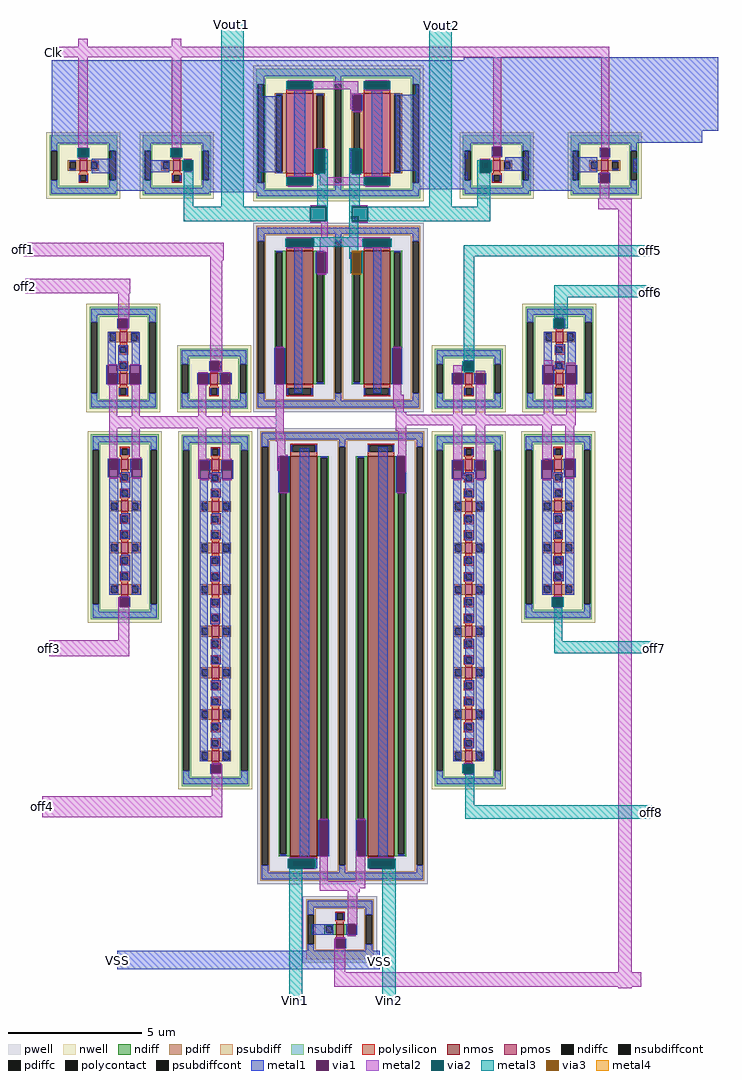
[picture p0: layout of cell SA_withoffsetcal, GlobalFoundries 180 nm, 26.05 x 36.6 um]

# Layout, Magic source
magic
tech gf180mcuD
magscale 1 10
<< nwell >>
rect 4580 340 4680 390
rect 4860 380 4910 400
rect 4850 190 4910 380
rect 4620 -380 4680 -110
<< pwell >>
rect 4840 -840 4910 -610
rect 4290 -2300 4350 -2030
<< metal1 >>
rect 2610 440 4210 560
rect 2610 290 4190 440
rect 4370 340 4380 400
rect 4560 340 4570 400
rect 4950 340 4960 400
rect 5140 340 5150 400
rect 2610 -50 4330 290
rect 3060 -60 3310 -50
rect 2800 -170 2810 -100
rect 2880 -170 2890 -100
rect 3060 -180 3350 -60
rect 3500 -170 3510 -100
rect 3580 -170 3590 -100
rect 2910 -190 3350 -180
rect 2910 -280 3490 -190
rect 3590 -270 3600 -190
rect 3660 -270 3670 -190
rect 3750 -280 4330 -50
rect 2910 -290 3350 -280
rect 3060 -420 3350 -290
rect 3750 -430 4180 -280
rect 4430 -320 4510 340
rect 4860 180 4870 300
rect 4930 180 4940 300
rect 4580 -280 4590 -110
rect 4650 -280 4660 -110
rect 4850 -290 4860 -110
rect 4930 -290 4940 -110
rect 5010 -320 5090 340
rect 5340 300 5730 520
rect 5190 -180 5730 300
rect 5910 -160 5920 -90
rect 5980 -160 5990 -90
rect 6160 -170 6550 510
rect 6720 -170 6730 -100
rect 6790 -170 6800 -100
rect 5190 -270 5710 -180
rect 5340 -280 5710 -270
rect 5820 -280 5830 -190
rect 5900 -280 5910 -190
rect 6010 -270 6700 -170
rect 6160 -280 6700 -270
rect 6970 -280 7000 -180
rect 4370 -380 4380 -320
rect 4560 -380 4570 -320
rect 4950 -380 4960 -320
rect 5140 -380 5150 -320
rect 5340 -410 5730 -280
rect 6160 -420 6550 -280
rect 6710 -360 6720 -290
rect 6790 -360 6800 -290
rect 4360 -840 4370 -780
rect 4570 -840 4580 -780
rect 4940 -840 4950 -780
rect 5150 -840 5160 -780
rect 3100 -1450 3110 -1380
rect 3180 -1450 3190 -1380
rect 3030 -1730 3090 -1480
rect 3110 -1730 3180 -1580
rect 3210 -1730 3270 -1480
rect 3020 -1870 3030 -1730
rect 3100 -1770 3180 -1730
rect 3100 -1870 3110 -1770
rect 3190 -1870 3200 -1730
rect 3270 -1870 3280 -1730
rect 3790 -1770 3800 -1700
rect 3870 -1770 3880 -1700
rect 3700 -1870 3710 -1790
rect 3780 -1870 3790 -1790
rect 3870 -1870 3880 -1790
rect 3950 -1870 3960 -1790
rect 4280 -1870 4290 -1600
rect 4350 -1870 4360 -1600
rect 4430 -1940 4490 -840
rect 4590 -1040 4600 -880
rect 4670 -1040 4680 -880
rect 4850 -1040 4860 -880
rect 4930 -1040 4940 -880
rect 5020 -1940 5080 -840
rect 6370 -1450 6380 -1380
rect 6450 -1450 6460 -1380
rect 5160 -1870 5170 -1600
rect 5230 -1870 5240 -1600
rect 5690 -1770 5700 -1700
rect 5770 -1770 5780 -1700
rect 6300 -1730 6360 -1480
rect 6390 -1730 6460 -1570
rect 6480 -1730 6540 -1480
rect 5610 -1870 5620 -1790
rect 5690 -1870 5700 -1790
rect 5780 -1870 5790 -1790
rect 5860 -1870 5870 -1790
rect 6290 -1870 6300 -1730
rect 6370 -1870 6380 -1730
rect 6390 -1760 6470 -1730
rect 6460 -1870 6470 -1760
rect 6540 -1870 6550 -1730
rect 3030 -2570 3040 -2430
rect 3110 -2570 3120 -2430
rect 3200 -2530 3210 -2430
rect 3130 -2570 3210 -2530
rect 3280 -2570 3290 -2430
rect 3040 -3450 3110 -2570
rect 3130 -2720 3200 -2570
rect 3130 -3030 3200 -2840
rect 3130 -3340 3200 -3150
rect 3210 -3450 3280 -2570
rect 3710 -2580 3720 -2440
rect 3790 -2580 3800 -2440
rect 3880 -2530 3890 -2440
rect 3810 -2580 3890 -2530
rect 3960 -2580 3970 -2440
rect 3110 -3540 3120 -3470
rect 3190 -3540 3200 -3470
rect 3720 -4700 3780 -2580
rect 3810 -2720 3880 -2580
rect 3810 -3030 3880 -2840
rect 3800 -3350 3870 -3160
rect 3800 -3670 3870 -3480
rect 3810 -3970 3880 -3780
rect 3810 -4280 3880 -4090
rect 3810 -4600 3880 -4410
rect 3890 -4700 3950 -2580
rect 4310 -2680 4320 -2410
rect 4380 -2680 4390 -2410
rect 3800 -4790 3810 -4720
rect 3880 -4790 3890 -4720
rect 4470 -5430 4540 -2350
rect 4610 -5410 4620 -5140
rect 4680 -5410 4690 -5140
rect 4890 -5410 4900 -5140
rect 4960 -5410 4970 -5140
rect 5060 -5430 5130 -2340
rect 5190 -2680 5200 -2410
rect 5260 -2680 5270 -2410
rect 6290 -2440 6360 -2430
rect 5610 -2580 5620 -2440
rect 5690 -2580 5700 -2440
rect 5780 -2530 5790 -2440
rect 5710 -2580 5790 -2530
rect 5860 -2580 5870 -2440
rect 6280 -2580 6290 -2440
rect 6360 -2530 6370 -2440
rect 6360 -2580 6440 -2530
rect 6450 -2570 6460 -2430
rect 6530 -2570 6540 -2430
rect 5620 -4700 5680 -2580
rect 5710 -2720 5780 -2580
rect 5710 -3040 5780 -2850
rect 5710 -3350 5780 -3160
rect 5710 -3660 5780 -3470
rect 5710 -3970 5780 -3780
rect 5710 -4280 5780 -4090
rect 5710 -4600 5780 -4410
rect 5790 -4700 5850 -2580
rect 6290 -3450 6360 -2580
rect 6370 -2720 6440 -2580
rect 6370 -3030 6440 -2840
rect 6380 -3350 6450 -3160
rect 6460 -3450 6530 -2570
rect 6360 -3540 6370 -3470
rect 6440 -3540 6450 -3470
rect 5690 -4790 5700 -4720
rect 5770 -4790 5780 -4720
rect 4390 -5500 4400 -5430
rect 4590 -5500 4600 -5430
rect 4980 -5500 4990 -5430
rect 5180 -5500 5190 -5430
rect 4560 -6000 4720 -5920
rect 4820 -6000 4830 -5920
rect 4890 -6000 4900 -5920
rect 4730 -6100 4740 -6030
rect 4810 -6100 4820 -6030
rect 3100 -6260 4460 -6120
<< via1 >>
rect 4380 340 4560 400
rect 4960 340 5140 400
rect 2810 -170 2880 -100
rect 3510 -170 3580 -100
rect 3600 -270 3660 -190
rect 4870 180 4930 300
rect 4590 -280 4650 -110
rect 4860 -290 4930 -110
rect 5920 -160 5980 -90
rect 6730 -170 6790 -100
rect 5830 -280 5900 -190
rect 4380 -380 4560 -320
rect 4960 -380 5140 -320
rect 6720 -360 6790 -290
rect 4370 -840 4570 -780
rect 4950 -840 5150 -780
rect 3110 -1450 3180 -1380
rect 3030 -1870 3100 -1730
rect 3200 -1870 3270 -1730
rect 3800 -1770 3870 -1700
rect 3710 -1870 3780 -1790
rect 3880 -1870 3950 -1790
rect 4290 -1870 4350 -1600
rect 4600 -1040 4670 -880
rect 4860 -1040 4930 -880
rect 6380 -1450 6450 -1380
rect 5170 -1870 5230 -1600
rect 5700 -1770 5770 -1700
rect 5620 -1870 5690 -1790
rect 5790 -1870 5860 -1790
rect 6300 -1870 6370 -1730
rect 6470 -1870 6540 -1730
rect 3040 -2570 3110 -2430
rect 3210 -2570 3280 -2430
rect 3720 -2580 3790 -2440
rect 3890 -2580 3960 -2440
rect 3120 -3540 3190 -3470
rect 4320 -2680 4380 -2410
rect 3810 -4790 3880 -4720
rect 4620 -5410 4680 -5140
rect 4900 -5410 4960 -5140
rect 5200 -2680 5260 -2410
rect 5620 -2580 5690 -2440
rect 5790 -2580 5860 -2440
rect 6290 -2580 6360 -2440
rect 6460 -2570 6530 -2430
rect 6370 -3540 6440 -3470
rect 5700 -4790 5770 -4720
rect 4400 -5500 4590 -5430
rect 4990 -5500 5180 -5430
rect 4830 -6000 4890 -5920
rect 4740 -6100 4810 -6030
<< metal2 >>
rect 2810 660 2880 720
rect 3510 660 3580 720
rect 2620 580 6790 660
rect 2810 -100 2880 580
rect 2810 -180 2880 -170
rect 3510 -100 3580 580
rect 4380 400 4560 410
rect 4960 400 5140 410
rect 4560 340 4910 400
rect 4380 330 4560 340
rect 4850 310 4910 340
rect 4960 330 5140 340
rect 4850 300 4930 310
rect 4850 190 4870 300
rect 4870 170 4930 180
rect 5920 -90 5980 580
rect 3510 -180 3580 -170
rect 4590 -110 4660 -100
rect 4860 -110 4930 -100
rect 3600 -190 3660 -180
rect 3600 -280 3660 -270
rect 4660 -290 4680 -110
rect 4590 -300 4680 -290
rect 5920 -170 5980 -160
rect 6730 -100 6790 580
rect 6730 -180 6790 -170
rect 5820 -190 5900 -180
rect 5820 -290 5900 -280
rect 6720 -290 6790 -280
rect 4860 -300 4930 -290
rect 4380 -320 4560 -310
rect 4620 -320 4680 -300
rect 4960 -320 5140 -310
rect 4620 -380 4960 -320
rect 4380 -390 4560 -380
rect 4960 -390 5140 -380
rect 6720 -480 6790 -360
rect 4550 -540 4670 -530
rect 4860 -540 4980 -530
rect 4670 -650 4680 -580
rect 4550 -660 4680 -650
rect 6710 -560 6960 -480
rect 4860 -660 4980 -650
rect 4630 -770 4680 -660
rect 4370 -780 4570 -770
rect 2400 -910 3900 -810
rect 4370 -850 4570 -840
rect 4620 -780 5150 -770
rect 4620 -840 4950 -780
rect 4620 -870 4680 -840
rect 4950 -850 5150 -840
rect 3800 -940 3900 -910
rect 4600 -880 4680 -870
rect 2410 -1190 3200 -1080
rect 3110 -1380 3190 -1190
rect 3180 -1450 3190 -1380
rect 3110 -1460 3180 -1450
rect 3800 -1700 3890 -940
rect 4670 -1040 4680 -880
rect 4860 -880 4930 -870
rect 4600 -1050 4670 -1040
rect 4860 -1050 4930 -1040
rect 6380 -1380 6450 -1370
rect 6380 -1460 6450 -1450
rect 3030 -1730 3100 -1720
rect 3030 -1880 3100 -1870
rect 3200 -1730 3270 -1720
rect 3870 -1770 3890 -1700
rect 3800 -1780 3890 -1770
rect 4290 -1600 4350 -1590
rect 3200 -1880 3270 -1870
rect 3040 -2110 3100 -1880
rect 3210 -2110 3270 -1880
rect 3710 -1790 3780 -1780
rect 3710 -1880 3780 -1870
rect 3880 -1790 3950 -1780
rect 3880 -1880 3950 -1870
rect 3710 -2110 3770 -1880
rect 3890 -2110 3950 -1880
rect 4290 -2110 4350 -1870
rect 5170 -1600 5230 -1590
rect 5700 -1700 5770 -1690
rect 5170 -1950 5230 -1870
rect 5620 -1790 5690 -1730
rect 6300 -1730 6370 -1690
rect 5700 -1780 5770 -1770
rect 5170 -2050 5250 -1950
rect 3040 -2200 4350 -2110
rect 3040 -2420 3100 -2200
rect 3210 -2420 3270 -2200
rect 3040 -2430 3110 -2420
rect 3040 -2580 3110 -2570
rect 3210 -2430 3280 -2420
rect 3210 -2580 3280 -2570
rect 3710 -2430 3770 -2200
rect 3890 -2430 3950 -2200
rect 4290 -2250 4350 -2200
rect 5190 -2080 5250 -2050
rect 5190 -2100 5270 -2080
rect 5620 -2100 5690 -1870
rect 5790 -1790 5860 -1770
rect 5790 -2100 5860 -1870
rect 6300 -2100 6370 -1870
rect 6470 -1730 6540 -1710
rect 6470 -2100 6540 -1870
rect 5190 -2180 6540 -2100
rect 5190 -2220 5270 -2180
rect 4290 -2300 4360 -2250
rect 4300 -2400 4360 -2300
rect 5210 -2400 5270 -2220
rect 4300 -2410 4380 -2400
rect 3710 -2440 3790 -2430
rect 3710 -2580 3720 -2440
rect 3720 -2590 3790 -2580
rect 3890 -2440 3960 -2430
rect 4300 -2520 4320 -2410
rect 3890 -2590 3960 -2580
rect 4320 -2690 4380 -2680
rect 5200 -2410 5270 -2400
rect 5260 -2530 5270 -2410
rect 5620 -2440 5690 -2180
rect 5620 -2590 5690 -2580
rect 5790 -2440 5860 -2180
rect 5790 -2590 5860 -2580
rect 6290 -2440 6360 -2180
rect 6460 -2430 6530 -2180
rect 6460 -2580 6530 -2570
rect 6290 -2590 6360 -2580
rect 5200 -2690 5260 -2680
rect 3120 -3470 3190 -3460
rect 3110 -3540 3120 -3470
rect 3110 -3790 3190 -3540
rect 6370 -3470 6440 -3460
rect 6370 -3550 6440 -3540
rect 2590 -3910 3190 -3790
rect 3810 -4720 3880 -4710
rect 5700 -4720 5770 -4710
rect 3880 -4790 3890 -4720
rect 3810 -4960 3890 -4790
rect 5700 -4800 5770 -4790
rect 2540 -5120 3890 -4960
rect 4620 -5140 4680 -5130
rect 4900 -5140 4960 -5130
rect 4390 -5430 4590 -5420
rect 4390 -5510 4590 -5500
rect 4620 -5600 4680 -5410
rect 4890 -5410 4900 -5370
rect 4890 -5600 4960 -5410
rect 4990 -5430 5180 -5420
rect 4990 -5510 5180 -5500
rect 4620 -5650 4960 -5600
rect 4620 -5670 4920 -5650
rect 4830 -5680 4920 -5670
rect 4830 -5920 4900 -5680
rect 4890 -5930 4900 -5920
rect 4830 -6010 4890 -6000
rect 4740 -6030 4810 -6020
rect 4730 -6100 4740 -6030
rect 4730 -6280 4810 -6100
rect 6860 -6280 6960 -560
rect 4730 -6390 7030 -6280
rect 6860 -6400 6960 -6390
<< via2 >>
rect 2810 -170 2880 -100
rect 4380 340 4560 400
rect 4960 340 5140 400
rect 3510 -170 3580 -100
rect 3600 -270 3660 -190
rect 4590 -280 4650 -110
rect 4650 -280 4660 -110
rect 4590 -290 4660 -280
rect 4860 -290 4930 -110
rect 5820 -280 5830 -190
rect 5830 -280 5900 -190
rect 4380 -380 4560 -320
rect 4960 -380 5140 -320
rect 4550 -650 4670 -540
rect 4860 -650 4980 -540
rect 4370 -840 4570 -780
rect 4950 -840 5150 -780
rect 6380 -1450 6450 -1380
rect 5700 -1770 5770 -1700
rect 6370 -3540 6440 -3470
rect 5700 -4790 5770 -4720
rect 4390 -5500 4400 -5430
rect 4400 -5500 4580 -5430
rect 4990 -5500 5180 -5430
<< metal3 >>
rect 2800 -170 2810 -100
rect 2880 -170 2890 -100
rect 3500 -170 3510 -100
rect 3580 -170 3590 -100
rect 3590 -270 3600 -190
rect 3660 -270 3670 -190
rect 3600 -540 3670 -270
rect 3880 -540 4050 830
rect 4370 340 4380 400
rect 4560 340 4570 400
rect 4950 340 4960 400
rect 5140 340 5150 400
rect 4840 -110 4920 -100
rect 4580 -290 4590 -110
rect 4660 -120 4670 -110
rect 4660 -290 4680 -120
rect 4370 -380 4380 -320
rect 4560 -380 4570 -320
rect 4600 -540 4680 -290
rect 3600 -650 4550 -540
rect 4670 -650 4680 -540
rect 4840 -290 4860 -110
rect 4930 -290 4940 -110
rect 4840 -540 4920 -290
rect 4950 -380 4960 -320
rect 5140 -380 5150 -320
rect 5440 -540 5610 820
rect 5800 -280 5820 -190
rect 5900 -280 5910 -190
rect 5800 -540 5900 -280
rect 4840 -650 4860 -540
rect 4980 -650 5900 -540
rect 4840 -770 4910 -650
rect 4560 -780 4910 -770
rect 4360 -840 4370 -780
rect 4570 -840 4910 -780
rect 4940 -840 4950 -780
rect 5150 -840 5160 -780
rect 4840 -880 4910 -840
rect 4840 -930 4860 -880
rect 4850 -1040 4860 -930
rect 4930 -1040 4940 -880
rect 5700 -910 7100 -830
rect 5700 -1700 5780 -910
rect 6380 -1220 7100 -1130
rect 6380 -1380 6480 -1220
rect 6370 -1450 6380 -1380
rect 6450 -1450 6480 -1380
rect 5690 -1770 5700 -1700
rect 5770 -1770 5780 -1700
rect 5700 -1780 5780 -1770
rect 6360 -3540 6370 -3470
rect 6440 -3540 6450 -3470
rect 6380 -3800 6440 -3540
rect 6380 -3890 7130 -3800
rect 5690 -4790 5700 -4720
rect 5770 -4790 5780 -4720
rect 5710 -5030 5780 -4790
rect 5710 -5130 7110 -5030
rect 4380 -5500 4390 -5430
rect 4580 -5500 4590 -5430
rect 4980 -5500 4990 -5430
rect 5180 -5500 5190 -5430
rect 4390 -6490 4490 -5500
rect 5090 -6490 5190 -5500
<< via3 >>
rect 4860 -1040 4930 -880
<< metal4 >>
rect 4860 -880 4930 -870
rect 4860 -1050 4930 -1040
use pfet_03v3_H5R3BY  XM1
transform 1 0 2848 0 1 -230
box -278 -250 278 250
use pfet_03v3_H5R3BY  XM2
transform 1 0 3548 0 1 -230
box -278 -250 278 250
use pfet_03v3_669F58  XM3
transform 1 0 4470 0 1 10
box -350 -510 2560 570
use pfet_03v3_669F58  XM4
transform 1 0 5050 0 1 10
box -350 -510 2560 570
use pfet_03v3_H5R3BY  XM5
transform 1 0 5948 0 1 -230
box -278 -250 278 250
use pfet_03v3_H5R3BY  XM6
transform -1 0 6758 0 1 -230
box -278 -250 278 250
use nfet_03v3_E4SVYL  XM7
transform 1 0 4470 0 1 -1370
box -350 -710 350 710
use nfet_03v3_E4SVYL  XM8
transform 1 0 5050 0 1 -1370
box -350 -710 350 710
use nfet_03v3_2KYBZL  XM9
transform 1 0 4500 0 1 -3910
box -350 -1710 350 1710
use nfet_03v3_2KYBZL  XM10
transform 1 0 5080 0 1 -3910
box -350 -1710 350 1710
use nfet_03v3_Z8672T  XM11
transform -1 0 4772 0 1 -5960
box -298 -300 332 250
use pfet_03v3_H5R3BY  XM12
transform 1 0 5738 0 1 -1830
box -278 -250 278 250
use pfet_03v3_HDLTJN  XM13
transform 1 0 6418 0 1 -1674
box -278 -406 278 406
use pfet_03v3_GU2533  XM14
transform 1 0 6408 0 1 -2942
box -278 -718 278 718
use pfet_03v3_HVKTJN  XM15
transform 1 0 5738 0 1 -3568
box -278 -1342 278 1342
use pfet_03v3_H5R3BY  XM16
transform 1 0 3828 0 1 -1830
box -278 -250 278 250
use pfet_03v3_HDLTJN  XM17
transform 1 0 3148 0 1 -1674
box -278 -406 278 406
use pfet_03v3_GU2533  XM18
transform -1 0 3158 0 1 -2942
box -278 -718 278 718
use pfet_03v3_HVKTJN  XM19
transform 1 0 3838 0 1 -3568
box -278 -1342 278 1342
<< labels >>
rlabel metal2 2620 620 2620 620 7 Clk
port 0 w
rlabel metal3 4440 -6490 4440 -6490 5 Vin1
port 1 s
rlabel metal3 5140 -6490 5140 -6490 5 Vin2
port 2 s
rlabel metal1 2610 530 2610 530 1 VDD
port 3 n
rlabel metal3 3960 830 3960 830 1 Vout1
port 5 n
rlabel metal3 5530 820 5530 820 1 Vout2
port 6 n
rlabel metal3 7100 -870 7100 -870 1 off5
port 7 n
rlabel metal3 7100 -1180 7100 -1180 3 off6
port 8 e
rlabel metal3 7130 -3850 7130 -3850 3 off7
port 9 e
rlabel metal3 7110 -5080 7110 -5080 3 off8
port 10 e
rlabel metal2 2400 -860 2400 -860 7 off1
port 11 w
rlabel metal2 2410 -1140 2410 -1140 7 off2
port 12 w
rlabel metal2 2590 -3850 2590 -3850 7 off3
port 13 w
rlabel metal2 2540 -5040 2540 -5040 7 off4
port 14 w
rlabel space 5070 -6200 5070 -6200 3 VSS
rlabel space 5050 -6240 5100 -6180 1 remove
rlabel metal1 3100 -6190 3100 -6190 1 VSS
port 4 n
<< end >>

# cell pfet_03v3_H5R3BY: kit device pfet_03v3, w 0.4 l 0.28 m 1 nf 1 diffcov 100 polycov 100 guard 1 glc 1 grc 1 gtc 0 gbc 0 tbcov 100 rlcov 100 topc 1 botc 1 poverlap 0 doverlap 1 lmin 0.28 wmin 0.22 class mosfet full_metal 1 compatible {pfet_03v3 pfet_06v0} ad {int((nf+1)/2) * W/nf * 0.18u} as {int((nf+2)/2) * W/nf * 0.18u} pd {2*int((nf+1)/2) * (W/nf + 0.18u)} ps {2*int((nf+2)/2) * (W/nf + 0.18u)} nrd {0.18u / W} nrs {0.18u / W} sa 0 sb 0 sd 0

# cell pfet_03v3_669F58: kit device pfet_03v3, w 3.0 l 1.0 m 1 nf 1 diffcov 100 polycov 100 guard 1 glc 1 grc 1 gtc 0 gbc 0 tbcov 100 rlcov 100 topc 1 botc 1 poverlap 0 doverlap 1 lmin 0.28 wmin 0.22 class mosfet full_metal 1 compatible {pfet_03v3 pfet_06v0} ad {int((nf+1)/2) * W/nf * 0.18u} as {int((nf+2)/2) * W/nf * 0.18u} pd {2*int((nf+1)/2) * (W/nf + 0.18u)} ps {2*int((nf+2)/2) * (W/nf + 0.18u)} nrd {0.18u / W} nrs {0.18u / W} sa 0 sb 0 sd 0

# cell nfet_03v3_E4SVYL: kit device nfet_03v3, w 5.0 l 1.0 m 1 nf 1 diffcov 100 polycov 100 guard 1 glc 1 grc 1 gtc 0 gbc 0 tbcov 100 rlcov 100 topc 1 botc 1 poverlap 0 doverlap 1 lmin 0.28 wmin 0.22 class mosfet full_metal 1 compatible {nfet_03v3 nfet_06v0 nfet_06v0_nvt} ad {int((nf+1)/2) * W/nf * 0.18u} as {int((nf+2)/2) * W/nf * 0.18u} pd {2*int((nf+1)/2) * (W/nf + 0.18u)} ps {2*int((nf+2)/2) * (W/nf + 0.18u)} nrd {0.18u / W} nrs {0.18u / W} sa 0 sb 0 sd 0

# cell nfet_03v3_2KYBZL: kit device nfet_03v3, w 15.0 l 1.0 m 1 nf 1 diffcov 100 polycov 100 guard 1 glc 1 grc 1 gtc 0 gbc 0 tbcov 100 rlcov 100 topc 1 botc 1 poverlap 0 doverlap 1 lmin 0.28 wmin 0.22 class mosfet full_metal 1 compatible {nfet_03v3 nfet_06v0 nfet_06v0_nvt} ad {int((nf+1)/2) * W/nf * 0.18u} as {int((nf+2)/2) * W/nf * 0.18u} pd {2*int((nf+1)/2) * (W/nf + 0.18u)} ps {2*int((nf+2)/2) * (W/nf + 0.18u)} nrd {0.18u / W} nrs {0.18u / W} sa 0 sb 0 sd 0

# cell nfet_03v3_Z8672T: kit device nfet_03v3, w 0.4 l 0.28 m 1 nf 1 diffcov 100 polycov 100 guard 1 glc 1 grc 1 gtc 0 gbc 0 tbcov 100 rlcov 100 topc 1 botc 1 poverlap 0 doverlap 1 lmin 0.28 wmin 0.22 class mosfet full_metal 1 compatible {nfet_03v3 nfet_06v0 nfet_06v0_nvt} ad {int((nf+1)/2) * W/nf * 0.18u} as {int((nf+2)/2) * W/nf * 0.18u} pd {2*int((nf+1)/2) * (W/nf + 0.18u)} ps {2*int((nf+2)/2) * (W/nf + 0.18u)} nrd {0.18u / W} nrs {0.18u / W} sa 0 sb 0 sd 0

# cell pfet_03v3_HDLTJN: kit device pfet_03v3, w 0.4 l 0.28 m 2 nf 1 diffcov 100 polycov 100 guard 1 glc 1 grc 1 gtc 0 gbc 0 tbcov 100 rlcov 100 topc 1 botc 1 poverlap 0 doverlap 1 lmin 0.28 wmin 0.22 class mosfet full_metal 1 compatible {pfet_03v3 pfet_06v0} ad {int((nf+1)/2) * W/nf * 0.18u} as {int((nf+2)/2) * W/nf * 0.18u} pd {2*int((nf+1)/2) * (W/nf + 0.18u)} ps {2*int((nf+2)/2) * (W/nf + 0.18u)} nrd {0.18u / W} nrs {0.18u / W} sa 0 sb 0 sd 0

# cell pfet_03v3_GU2533: kit device pfet_03v3, w 0.4 l 0.28 m 4 nf 1 diffcov 100 polycov 100 guard 1 glc 1 grc 1 gtc 0 gbc 0 tbcov 100 rlcov 100 topc 1 botc 1 poverlap 0 doverlap 1 lmin 0.28 wmin 0.22 class mosfet full_metal 1 compatible {pfet_03v3 pfet_06v0} ad {int((nf+1)/2) * W/nf * 0.18u} as {int((nf+2)/2) * W/nf * 0.18u} pd {2*int((nf+1)/2) * (W/nf + 0.18u)} ps {2*int((nf+2)/2) * (W/nf + 0.18u)} nrd {0.18u / W} nrs {0.18u / W} sa 0 sb 0 sd 0

# cell pfet_03v3_HVKTJN: kit device pfet_03v3, w 0.4 l 0.28 m 8 nf 1 diffcov 100 polycov 100 guard 1 glc 1 grc 1 gtc 0 gbc 0 tbcov 100 rlcov 100 topc 1 botc 1 poverlap 0 doverlap 1 lmin 0.28 wmin 0.22 class mosfet full_metal 1 compatible {pfet_03v3 pfet_06v0} ad {int((nf+1)/2) * W/nf * 0.18u} as {int((nf+2)/2) * W/nf * 0.18u} pd {2*int((nf+1)/2) * (W/nf + 0.18u)} ps {2*int((nf+2)/2) * (W/nf + 0.18u)} nrd {0.18u / W} nrs {0.18u / W} sa 0 sb 0 sd 0
